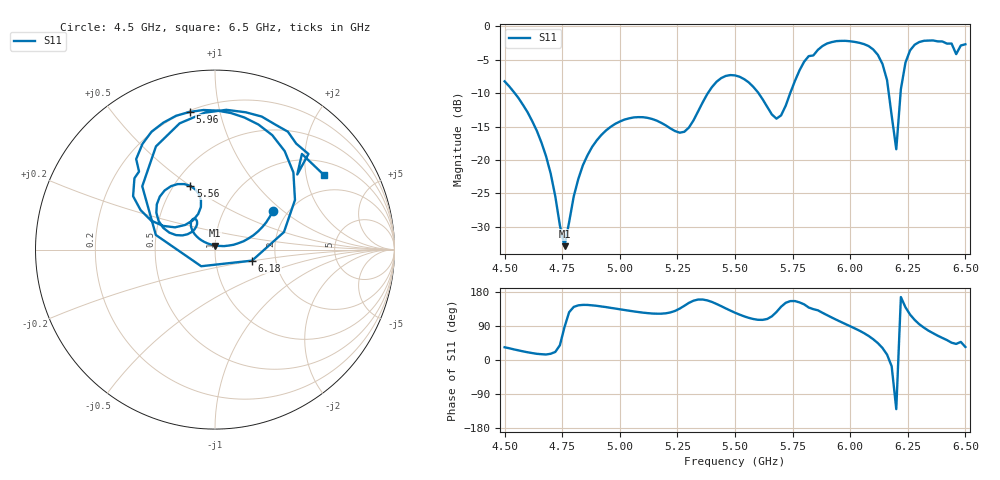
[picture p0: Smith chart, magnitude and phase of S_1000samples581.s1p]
! TOUCHSTONE file generated by CST MICROWAVE STUDIO
! Date and time: Fri Oct 28 16:23:52 2022
! Project name: L.cst
! Parameters = {Di=1.27; Epsilon_r=1.56; InnerDiameter=1.27; Length=2; Lf=10; Lg=60; OuterConductorThickness=0.2921; OuterDiameter=3.6; Wf=3; Wp=41.2; de=1.5; df=6.8; g=0.8; gx=1.9577; gy=1.38314; h=2.34; hf=1.524; px=13.954; py=9.91391; w=9.7; wx=11.9963; wy=8.53077}
! Header version: 2018
! Port assignment regex: !\s*Touchstone port\s*([0-9]+)\s*=\s*(CST MWS port|CST DS port)\s*([0-9]+|Zmin|Zmax)\s*\(\"(.*)\"\)(\s*mode\s*([0-9]+))?.*
! Touchstone port assignment:
! Touchstone port 1 = CST MWS port 1 ("")
# GHz S DB R 50
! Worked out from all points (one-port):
!   101 points, 4.5 GHz to 6.5 GHz, reference 50 ohm
!   lowest |S11| = -32.9 dB at 4.76 GHz (marker M1), VSWR 1.05, Z = 50.1 + j2.27 ohm
!   |S11| at or under -10 dB: 4.544 GHz to 5.382 GHz (837.6 MHz wide, 16.9 % of centre); 5.602 GHz to 5.739 GHz (137 MHz wide, 2.42 % of centre); 6.167 GHz to 6.219 GHz (51.22 MHz wide, 0.827 % of centre)
!   S11 on the Smith chart (normalised r, x): 4.5 GHz: 1.68, +0.85; 5.56 GHz: 0.60, +0.50; 5.96 GHz: 0.21, +0.81; 6.18 GHz: 1.51, -0.19; 6.5 GHz: 1.40, +2.54
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4.5  -8.22 33.6
4.66  -17.39 15.3
4.7  -22.02 16.4
4.76  -32.88 87.0
4.84  -20.76 145.5
5  -14.23 133.8
5.26  -15.90 135.6
5.42  -8.28 147.9
5.5  -7.33 124.8
5.56  -8.38 111.2
5.68  -13.80 126.6
5.76  -8.17 155.6
5.86  -3.49 131.1
5.96  -2.16 100.4
6  -2.22 89.1
6.06  -2.64 70.9
6.12  -4.25 44.6
6.16  -8.04 14.2
6.18  -13.33 -16.5
6.2  -18.38 -129.7
6.22  -9.38 166.1
6.26  -3.58 119.8
6.32  -2.14 85.4
6.4  -2.24 58.3
6.44  -2.56 45.7
6.46  -4.14 42.4
6.48  -2.85 47.7
6.5  -2.67 34.4
